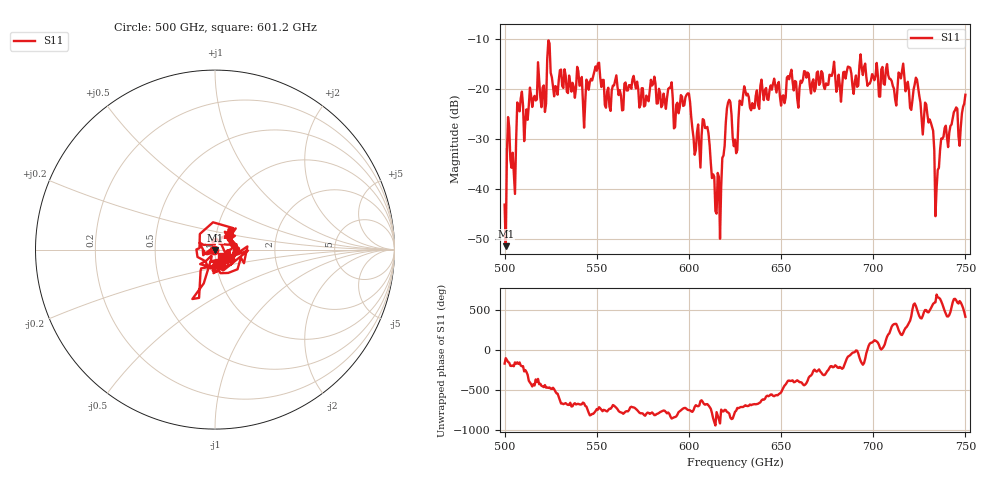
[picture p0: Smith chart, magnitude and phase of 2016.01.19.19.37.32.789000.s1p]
!Created with skrf (http://scikit-rf.org).
# GHz S RI R 50.0
!freq ReS11 ImS11
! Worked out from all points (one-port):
!   401 points, 500 GHz to 750 GHz, reference 50 ohm
!   lowest |S11| = -51.5 dB at 500.6 GHz (marker M1), VSWR 1.01, Z = 49.9 - j0.26 ohm
!   |S11| at or under -10 dB: start of sweep to end of sweep
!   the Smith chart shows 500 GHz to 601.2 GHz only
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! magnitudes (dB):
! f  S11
! 500 GHz  -43.2
! 500.6 GHz  -51.5
! 502.5 GHz  -27.7
! 505 GHz  -36.9
! 508.1 GHz  -24.5
! 521.2 GHz  -19.4
! 524.4 GHz  -11.0
! 527.5 GHz  -19.5
! 531.2 GHz  -19.5
! 543.8 GHz  -22.6
! 550 GHz  -16.4
! 562.5 GHz  -20.3
! 580.6 GHz  -19.1
! 593.8 GHz  -22.8
! 599.4 GHz  -21.0
! 605 GHz  -27.2
! 608.8 GHz  -27.9
! 615.6 GHz  -36.9
! 621.2 GHz  -22.8
! 625 GHz  -30.2
! 630.6 GHz  -20.5
! 656.2 GHz  -18.6
! 687.5 GHz  -15.8
! 718.8 GHz  -18.6
! 729.4 GHz  -25.2
! 734.4 GHz  -39.8
! 738.1 GHz  -29.6
! 750 GHz  -21.2
